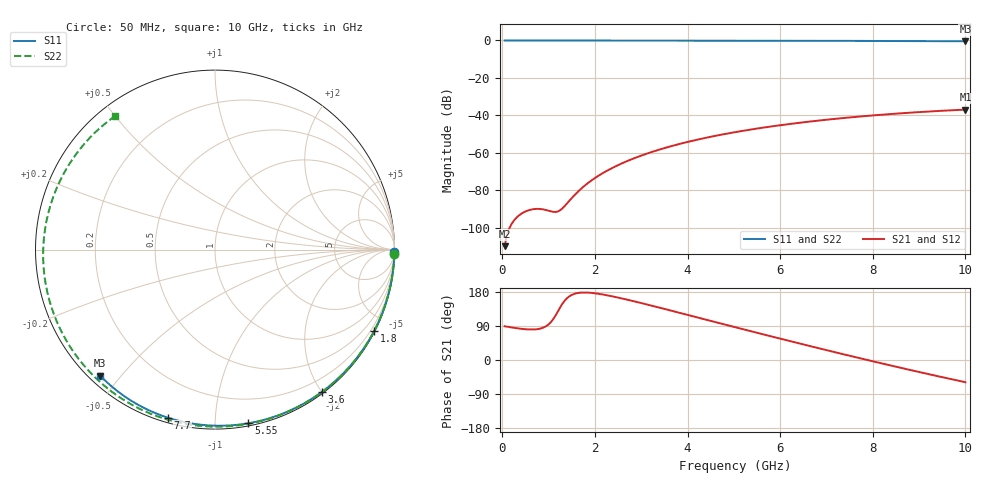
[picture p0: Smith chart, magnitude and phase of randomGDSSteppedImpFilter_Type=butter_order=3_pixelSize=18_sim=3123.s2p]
! freq	dB(S11)	phase(S11)	dB(S12)	phase(S12)
!  dB(S21)	phase(S21)	dB(S22)	phase(S22)
!S-par simulation data
#  GHz  S  DB  R 50
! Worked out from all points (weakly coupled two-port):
!   200 points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, 50 MHz to 10 GHz, reference 50 ohm
!   highest |S21| = -36.89 dB at 10 GHz (marker M1); lowest = -109.8 dB at 50 MHz (marker M2)
!   lowest |S11| = -0.4 dB at 10 GHz (marker M3), VSWR 38.99, Z = 1.53 - j22.1 ohm
!   |S11| at or under -10 dB: nowhere
!   |S22| runs from -0.6 to 0.0 dB; largest |S21 - S12| = 0
!   S11 on the Smith chart (normalised r, x): 50 MHz: open; 1.8 GHz: 0.04, -4.15; 3.6 GHz: 0.02, -2.01; 5.55 GHz: 0.02, -1.21; 7.7 GHz: 0.02, -0.76; 10 GHz: 0.03, -0.44
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0.05  -0.00 -0.8  -109.76 89.1  -109.76 89.1  -0.00 -1.4
0.4  -0.01 -6.1  -92.61 82.4  -92.61 82.4  -0.02 -11.0
0.8  -0.02 -12.1  -89.89 82.3  -89.89 82.3  -0.03 -21.8
1.2  -0.02 -18.2  -91.24 128.0  -91.24 128.0  -0.04 -32.5
1.65  -0.03 -24.9  -80.28 177.2  -80.28 177.2  -0.06 -44.4
1.75  -0.03 -26.4  -78.06 178.1  -78.06 178.1  -0.06 -47.0
1.8  -0.03 -27.1  -77.04 178.1  -77.04 178.1  -0.06 -48.3
2.1  -0.04 -31.5  -71.82 174.3  -71.82 174.3  -0.07 -55.9
2.45  -0.05 -36.6  -67.11 166.1  -67.11 166.1  -0.08 -64.7
2.9  -0.06 -43.1  -62.35 153.3  -62.35 153.3  -0.10 -75.7
3.4  -0.07 -50.2  -58.17 138.0  -58.17 138.0  -0.11 -87.5
3.6  -0.07 -53.0  -56.73 131.7  -56.73 131.7  -0.12 -92.1
4.3  -0.09 -62.6  -52.45 109.6  -52.45 109.6  -0.15 -107.9
5.05  -0.11 -72.6  -48.83 85.9  -48.83 85.9  -0.18 -124.2
5.55  -0.13 -79.1  -46.82 70.3  -46.82 70.3  -0.21 -134.8
6.15  -0.15 -86.7  -44.74 51.7  -44.74 51.7  -0.25 -147.3
6.7  -0.18 -93.6  -43.10 35.0  -43.10 35.0  -0.29 -158.8
7.2  -0.21 -99.7  -41.79 20.1  -41.79 20.1  -0.33 -169.2
7.7  -0.24 -105.7  -40.63 5.3  -40.63 5.3  -0.38 -179.9
8.35  -0.29 -113.3  -39.32 -13.4  -39.32 -13.4  -0.45 165.9
9.15  -0.36 -122.6  -38.00 -35.8  -38.00 -35.8  -0.54 147.6
10  -0.45 -132.2  -36.89 -58.6  -36.89 -58.6  -0.64 126.8
